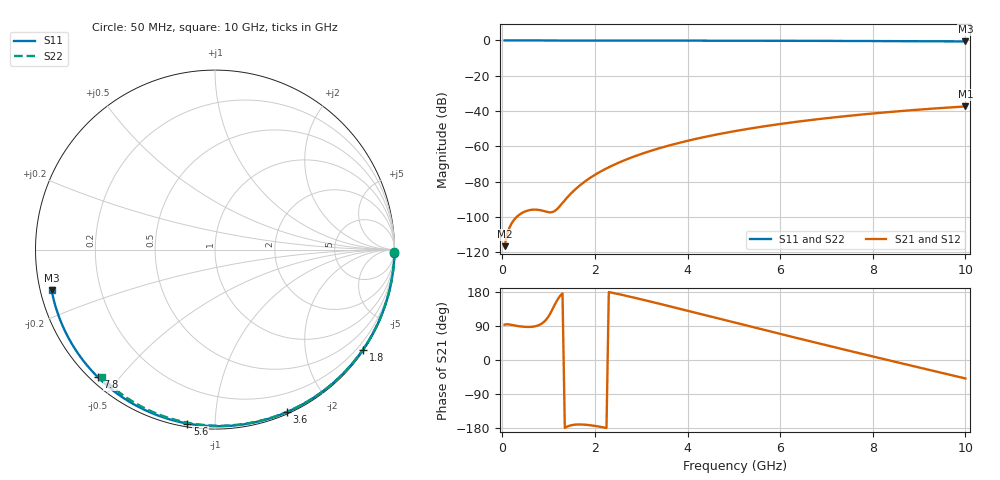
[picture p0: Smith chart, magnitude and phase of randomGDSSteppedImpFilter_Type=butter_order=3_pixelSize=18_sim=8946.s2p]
! freq	dB(S11)	phase(S11)	dB(S12)	phase(S12)
!  dB(S21)	phase(S21)	dB(S22)	phase(S22)
!S-par simulation data
#  GHz  S  DB  R 50
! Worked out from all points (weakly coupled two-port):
!   200 points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, 50 MHz to 10 GHz, reference 50 ohm
!   highest |S21| = -37.40 dB at 10 GHz (marker M1); lowest = -116.6 dB at 50 MHz (marker M2)
!   lowest |S11| = -0.6 dB at 10 GHz (marker M3), VSWR 31.32, Z = 1.62 - j6.11 ohm
!   |S11| at or under -10 dB: nowhere
!   |S22| runs from -0.4 to 0.0 dB; largest |S21 - S12| = 0
!   S11 on the Smith chart (normalised r, x): 50 MHz: open; 1.8 GHz: 0.03, -3.27; 3.6 GHz: 0.02, -1.53; 5.6 GHz: 0.02, -0.85; 7.8 GHz: 0.02, -0.44; 10 GHz: 0.03, -0.12
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0.05  -0.00 -1.0  -116.58 93.3  -116.58 93.3  -0.00 -0.8
0.45  -0.01 -8.7  -97.42 87.8  -97.42 87.8  -0.01 -6.8
0.85  -0.02 -16.3  -96.35 95.9  -96.35 95.9  -0.02 -12.9
1.3  -0.03 -24.7  -92.10 176.0  -92.10 176.0  -0.02 -19.6
1.75  -0.04 -33.1  -80.59 -170.4  -80.59 -170.4  -0.03 -26.2
1.8  -0.04 -34.0  -79.62 -170.9  -79.62 -170.9  -0.03 -27.0
2.1  -0.05 -39.5  -74.62 -176.0  -74.62 -176.0  -0.04 -31.4
2.3  -0.06 -43.2  -71.85 179.4  -71.85 179.4  -0.04 -34.3
2.5  -0.06 -46.8  -69.42 174.2  -69.42 174.2  -0.05 -37.2
2.9  -0.07 -53.9  -65.26 163.0  -65.26 163.0  -0.06 -42.9
3.4  -0.08 -62.7  -61.01 148.2  -61.01 148.2  -0.07 -50.0
3.6  -0.09 -66.2  -59.53 142.2  -59.53 142.2  -0.07 -52.7
4.3  -0.11 -78.0  -55.08 120.8  -55.08 120.8  -0.09 -62.3
5.05  -0.14 -90.3  -51.25 97.8  -51.25 97.8  -0.11 -72.3
5.6  -0.16 -99.0  -48.88 81.1  -48.88 81.1  -0.13 -79.4
6.15  -0.19 -107.6  -46.80 64.4  -46.80 64.4  -0.15 -86.4
6.7  -0.23 -116.1  -44.97 47.8  -44.97 47.8  -0.18 -93.2
7.25  -0.27 -124.4  -43.34 31.5  -43.34 31.5  -0.21 -99.8
7.8  -0.31 -132.6  -41.88 15.2  -41.88 15.2  -0.25 -106.4
8.35  -0.36 -140.9  -40.57 -0.9  -40.57 -0.9  -0.29 -112.8
9.2  -0.45 -153.7  -38.80 -25.6  -38.80 -25.6  -0.36 -122.6
10  -0.55 -166.1  -37.40 -48.7  -37.40 -48.7  -0.45 -131.6
